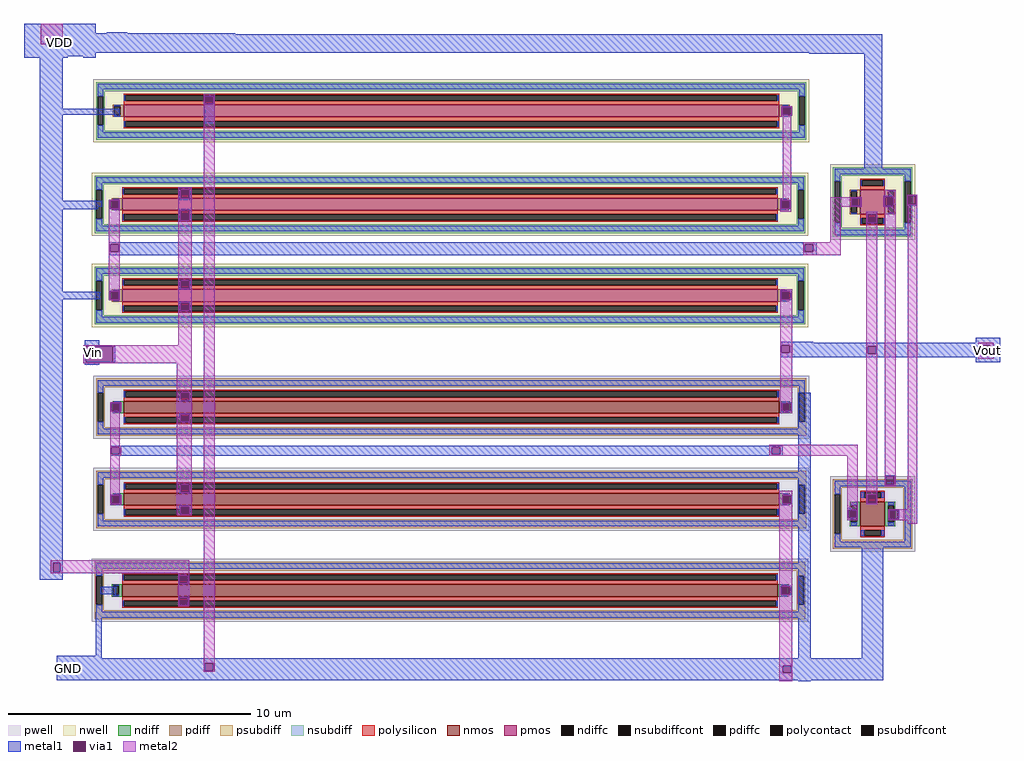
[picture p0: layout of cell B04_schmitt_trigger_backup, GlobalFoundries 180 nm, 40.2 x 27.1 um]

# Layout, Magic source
magic
tech gf180mcuD
<< metal1 >>
rect 224 -157 283 -149
rect 292 -157 309 -156
rect 224 -158 398 -157
rect 224 -173 931 -158
rect 224 -176 283 -173
rect 871 -174 931 -173
rect 224 -177 260 -176
rect 273 -177 283 -176
rect 237 -219 256 -177
rect 372 -215 373 -209
rect 380 -215 381 -209
rect 372 -217 381 -215
rect 237 -224 303 -219
rect 237 -295 256 -224
rect 373 -231 381 -217
rect 849 -218 857 -217
rect 856 -224 857 -218
rect 849 -225 857 -224
rect 916 -271 931 -174
rect 352 -293 353 -286
rect 360 -293 361 -286
rect 952 -291 960 -290
rect 932 -292 940 -291
rect 908 -293 914 -292
rect 352 -294 361 -293
rect 294 -295 298 -294
rect 847 -295 856 -294
rect 237 -300 288 -295
rect 237 -302 285 -300
rect 294 -301 295 -295
rect 847 -301 848 -295
rect 855 -301 856 -295
rect 913 -299 914 -293
rect 908 -300 914 -299
rect 932 -299 933 -292
rect 959 -298 960 -291
rect 952 -299 960 -298
rect 932 -300 940 -299
rect 294 -302 298 -301
rect 847 -302 856 -301
rect 237 -370 256 -302
rect 352 -303 361 -302
rect 352 -310 353 -303
rect 351 -311 353 -310
rect 360 -310 361 -303
rect 918 -306 927 -304
rect 360 -311 362 -310
rect 918 -313 919 -306
rect 926 -313 927 -306
rect 294 -331 877 -329
rect 294 -337 295 -331
rect 302 -337 867 -331
rect 874 -337 877 -331
rect 294 -340 877 -337
rect 352 -367 353 -361
rect 360 -367 361 -361
rect 352 -368 361 -367
rect 294 -370 298 -369
rect 849 -370 856 -369
rect 237 -376 287 -370
rect 294 -376 295 -370
rect 855 -376 856 -370
rect 237 -593 256 -376
rect 294 -377 298 -376
rect 849 -377 856 -376
rect 352 -379 361 -378
rect 352 -385 353 -379
rect 360 -385 361 -379
rect 274 -415 286 -410
rect 847 -412 874 -411
rect 1008 -412 1028 -408
rect 847 -414 1028 -412
rect 273 -428 275 -415
rect 297 -428 299 -415
rect 847 -420 848 -414
rect 855 -415 1013 -414
rect 855 -420 919 -415
rect 847 -421 919 -420
rect 926 -420 1013 -415
rect 1020 -420 1028 -414
rect 926 -421 1028 -420
rect 847 -424 1028 -421
rect 1008 -428 1028 -424
rect 274 -430 286 -428
rect 352 -459 353 -456
rect 360 -459 361 -456
rect 352 -460 361 -459
rect 295 -462 303 -461
rect 295 -468 296 -462
rect 295 -469 303 -468
rect 848 -462 856 -461
rect 848 -468 849 -462
rect 856 -468 857 -462
rect 848 -469 856 -468
rect 352 -471 361 -470
rect 352 -474 353 -471
rect 360 -474 361 -471
rect 295 -498 849 -497
rect 295 -504 296 -498
rect 303 -504 840 -498
rect 847 -504 849 -498
rect 295 -505 849 -504
rect 352 -535 353 -532
rect 360 -535 361 -532
rect 352 -536 361 -535
rect 295 -538 303 -537
rect 853 -538 857 -537
rect 295 -544 296 -538
rect 856 -544 857 -538
rect 295 -545 303 -544
rect 853 -545 857 -544
rect 352 -547 361 -546
rect 352 -550 353 -547
rect 360 -550 361 -547
rect 237 -601 248 -593
rect 254 -601 256 -593
rect 237 -607 256 -601
rect 351 -610 352 -604
rect 359 -610 360 -604
rect 351 -611 360 -610
rect 848 -613 856 -612
rect 287 -619 300 -613
rect 855 -619 856 -613
rect 848 -620 856 -619
rect 351 -622 360 -621
rect 351 -627 352 -622
rect 359 -627 360 -622
rect 283 -670 288 -634
rect 251 -672 288 -670
rect 862 -672 872 -453
rect 933 -522 942 -521
rect 933 -529 934 -522
rect 941 -529 942 -522
rect 918 -544 919 -538
rect 926 -544 927 -538
rect 918 -545 927 -544
rect 902 -550 906 -548
rect 937 -550 945 -549
rect 902 -556 903 -550
rect 902 -557 906 -556
rect 944 -557 945 -550
rect 937 -558 945 -557
rect 914 -672 932 -576
rect 251 -676 932 -672
rect 251 -682 373 -676
rect 380 -678 932 -676
rect 380 -682 849 -678
rect 251 -684 849 -682
rect 856 -684 932 -678
rect 251 -690 932 -684
rect 862 -691 872 -690
<< via1 >>
rect 373 -215 380 -209
rect 849 -224 856 -218
rect 353 -293 360 -286
rect 295 -301 302 -295
rect 848 -301 855 -295
rect 906 -299 913 -293
rect 933 -299 940 -292
rect 952 -298 959 -291
rect 353 -311 360 -303
rect 919 -313 926 -306
rect 295 -337 302 -331
rect 867 -337 874 -331
rect 353 -367 360 -361
rect 295 -376 302 -370
rect 848 -376 855 -370
rect 353 -385 360 -379
rect 275 -428 297 -415
rect 848 -420 855 -414
rect 919 -421 926 -415
rect 1013 -420 1020 -414
rect 353 -459 360 -453
rect 296 -468 303 -462
rect 849 -468 856 -462
rect 353 -477 360 -471
rect 296 -504 303 -498
rect 840 -504 847 -498
rect 353 -535 360 -529
rect 296 -544 303 -538
rect 849 -544 856 -538
rect 353 -553 360 -547
rect 248 -601 254 -593
rect 352 -610 359 -604
rect 848 -619 855 -613
rect 352 -628 359 -622
rect 934 -529 941 -522
rect 919 -544 926 -537
rect 903 -556 910 -550
rect 937 -557 944 -550
rect 373 -682 380 -676
rect 849 -684 856 -678
<< metal2 >>
rect 238 -166 256 -149
rect 372 -209 381 -207
rect 372 -215 373 -209
rect 380 -215 381 -209
rect 351 -286 362 -284
rect 351 -293 353 -286
rect 360 -293 362 -286
rect 294 -295 303 -294
rect 294 -301 295 -295
rect 302 -301 303 -295
rect 294 -331 303 -301
rect 294 -337 295 -331
rect 302 -337 303 -331
rect 294 -370 303 -337
rect 294 -376 295 -370
rect 302 -376 303 -370
rect 294 -377 303 -376
rect 351 -303 362 -293
rect 351 -311 353 -303
rect 360 -311 362 -303
rect 351 -361 362 -311
rect 351 -367 353 -361
rect 360 -367 362 -361
rect 351 -379 362 -367
rect 351 -385 353 -379
rect 360 -385 362 -379
rect 351 -414 362 -385
rect 273 -415 362 -414
rect 273 -428 275 -415
rect 297 -428 362 -415
rect 273 -429 362 -428
rect 350 -453 362 -429
rect 350 -459 353 -453
rect 360 -459 362 -453
rect 295 -462 304 -461
rect 295 -468 296 -462
rect 303 -468 304 -462
rect 295 -469 304 -468
rect 295 -497 303 -469
rect 350 -471 362 -459
rect 350 -477 353 -471
rect 360 -477 362 -471
rect 295 -498 304 -497
rect 295 -504 296 -498
rect 303 -504 304 -498
rect 295 -505 304 -504
rect 295 -537 303 -505
rect 350 -529 362 -477
rect 350 -535 353 -529
rect 360 -535 362 -529
rect 295 -538 304 -537
rect 295 -544 296 -538
rect 303 -544 304 -538
rect 295 -546 304 -544
rect 350 -547 362 -535
rect 350 -553 353 -547
rect 360 -553 362 -547
rect 350 -554 362 -553
rect 246 -593 360 -591
rect 246 -601 248 -593
rect 254 -601 360 -593
rect 246 -602 360 -601
rect 351 -604 360 -602
rect 351 -610 352 -604
rect 359 -610 360 -604
rect 351 -622 360 -610
rect 351 -628 352 -622
rect 359 -628 360 -622
rect 351 -629 360 -628
rect 372 -676 381 -215
rect 848 -218 857 -217
rect 848 -224 849 -218
rect 856 -224 857 -218
rect 848 -225 857 -224
rect 848 -226 856 -225
rect 849 -293 856 -226
rect 933 -291 942 -286
rect 932 -292 942 -291
rect 847 -295 856 -293
rect 847 -301 848 -295
rect 855 -301 856 -295
rect 847 -304 856 -301
rect 888 -293 914 -292
rect 888 -299 906 -293
rect 913 -299 914 -293
rect 888 -300 914 -299
rect 932 -299 933 -292
rect 940 -299 942 -292
rect 951 -291 960 -290
rect 951 -298 952 -291
rect 959 -298 960 -291
rect 951 -299 960 -298
rect 932 -300 942 -299
rect 888 -329 897 -300
rect 866 -331 897 -329
rect 866 -337 867 -331
rect 874 -337 897 -331
rect 866 -340 897 -337
rect 918 -306 927 -304
rect 918 -313 919 -306
rect 926 -313 927 -306
rect 847 -370 857 -368
rect 847 -376 848 -370
rect 855 -376 857 -370
rect 847 -414 857 -376
rect 847 -420 848 -414
rect 855 -420 857 -414
rect 847 -462 857 -420
rect 847 -468 849 -462
rect 856 -468 857 -462
rect 847 -470 857 -468
rect 918 -415 927 -313
rect 918 -421 919 -415
rect 926 -421 927 -415
rect 838 -498 911 -496
rect 838 -504 840 -498
rect 847 -504 911 -498
rect 838 -505 911 -504
rect 372 -682 373 -676
rect 380 -682 381 -676
rect 372 -683 381 -682
rect 846 -538 857 -534
rect 846 -544 849 -538
rect 856 -544 857 -538
rect 846 -613 857 -544
rect 902 -550 911 -505
rect 918 -537 927 -421
rect 933 -522 942 -300
rect 933 -529 934 -522
rect 941 -529 942 -522
rect 933 -530 942 -529
rect 918 -544 919 -537
rect 926 -544 927 -537
rect 918 -545 927 -544
rect 952 -549 960 -299
rect 1010 -414 1023 -412
rect 1010 -420 1013 -414
rect 1020 -420 1023 -414
rect 1010 -425 1023 -420
rect 902 -556 903 -550
rect 910 -556 911 -550
rect 902 -558 911 -556
rect 936 -550 960 -549
rect 936 -557 937 -550
rect 944 -557 960 -550
rect 936 -558 960 -557
rect 952 -561 960 -558
rect 846 -619 848 -613
rect 855 -619 857 -613
rect 846 -678 857 -619
rect 846 -684 849 -678
rect 856 -684 857 -678
rect 846 -691 857 -684
use pfet_03v3_C5NPLE  XM1
transform 1 0 575 0 1 -298
box -295 -26 295 26
use pfet_03v3_C5NPLE  XM2
transform 1 0 575 0 1 -373
box -295 -26 295 26
use pfet_03v3_9TRV9F  XM3
transform 1 0 923 0 1 -296
box -35 -31 35 31
use nfet_03v3_Y6NWY5  XM4
transform 1 0 576 0 1 -465
box -295 -26 295 26
use nfet_03v3_Y6NWY5  XM5
transform 1 0 576 0 1 -541
box -295 -26 295 26
use nfet_03v3_GNRYRW  XM6
transform 1 0 923 0 1 -553
box -35 -31 35 31
use pfet_03v3_C5NPLE  XM7
transform 1 0 576 0 1 -221
box -295 -26 295 26
use nfet_03v3_Y6NWY5  XM8
transform 1 0 575 0 1 -616
box -295 -26 295 26
<< labels >>
flabel metal1 253 -166 254 -163 0 FreeSans 160 0 0 0 VDD
port 0 nsew power bidirectional
flabel metal1 276 -430 286 -410 0 FreeSans 160 0 0 0 Vin
port 1 nsew signal default
flabel metal1 1008 -428 1028 -408 0 FreeSans 160 0 0 0 Vout
port 2 nsew
flabel metal1 251 -690 271 -670 0 FreeSans 160 0 0 0 GND
port 3 nsew signal default
<< end >>

# cell pfet_03v3_C5NPLE: kit device pfet_03v3, w 0.5 l 27 m 1 nf 1 diffcov 100 polycov 100 guard 1 glc 1 grc 1 gtc 0 gbc 0 tbcov 100 rlcov 100 topc 1 botc 1 poverlap 0 doverlap 1 lmin 0.28 wmin 0.22 class mosfet full_metal 1 compatible {pfet_03v3 pfet_05v0 pfet_06v0}

# cell pfet_03v3_9TRV9F: kit device pfet_03v3, w 1 l 1 m 1 nf 1 diffcov 100 polycov 100 guard 1 glc 1 grc 1 gtc 0 gbc 0 tbcov 100 rlcov 100 topc 1 botc 1 poverlap 0 doverlap 1 lmin 0.28 wmin 0.22 class mosfet full_metal 1 compatible {pfet_03v3 pfet_05v0 pfet_06v0}

# cell nfet_03v3_Y6NWY5: kit device nfet_03v3, w 0.5 l 27 m 1 nf 1 diffcov 100 polycov 100 guard 1 glc 1 grc 1 gtc 0 gbc 0 tbcov 100 rlcov 100 topc 1 botc 1 poverlap 0 doverlap 1 lmin 0.28 wmin 0.22 class mosfet full_metal 1 compatible {nfet_03v3 nfet_05v0 nfet_06v0 nfet_06v0_nvt}

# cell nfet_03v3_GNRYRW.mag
magic
tech gf180mcuD
magscale 1 10
<< pwell >>
rect -350 -310 350 310
<< nmos >>
rect -100 -100 100 100
<< ndiff >>
rect -188 70 -100 100
rect -188 -70 -175 70
rect -129 -70 -100 70
rect -188 -100 -100 -70
rect 100 70 188 100
rect 100 -70 129 70
rect 175 -70 188 70
rect 100 -100 188 -70
<< ndiffc >>
rect -175 -70 -129 70
rect 129 -70 175 70
<< psubdiff >>
rect -326 214 326 286
rect -326 164 -254 214
rect -326 -164 -313 164
rect -267 -164 -254 164
rect -326 -214 -254 -164
rect 254 -214 326 214
rect -326 -286 326 -214
<< psubdiffcont >>
rect -313 -164 -267 164
<< polysilicon >>
rect -100 179 100 192
rect -100 133 -70 179
rect 70 133 100 179
rect -100 100 100 133
rect -100 -133 100 -100
rect -100 -179 -70 -133
rect 70 -179 100 -133
rect -100 -192 100 -179
<< polycontact >>
rect -70 133 70 179
rect -70 -179 70 -133
<< metal1 >>
rect -313 227 313 273
rect -313 164 -267 227
rect -98 133 -70 179
rect 70 133 98 179
rect -175 70 -129 98
rect -175 -98 -129 -70
rect 129 70 175 98
rect 129 -98 175 -70
rect -313 -227 -267 -164
rect -98 -179 -70 -133
rect 70 -179 98 -133
rect 267 -227 313 227
rect -313 -273 313 -227
<< properties >>
string FIXED_BBOX -290 -250 290 250
<< end >>
